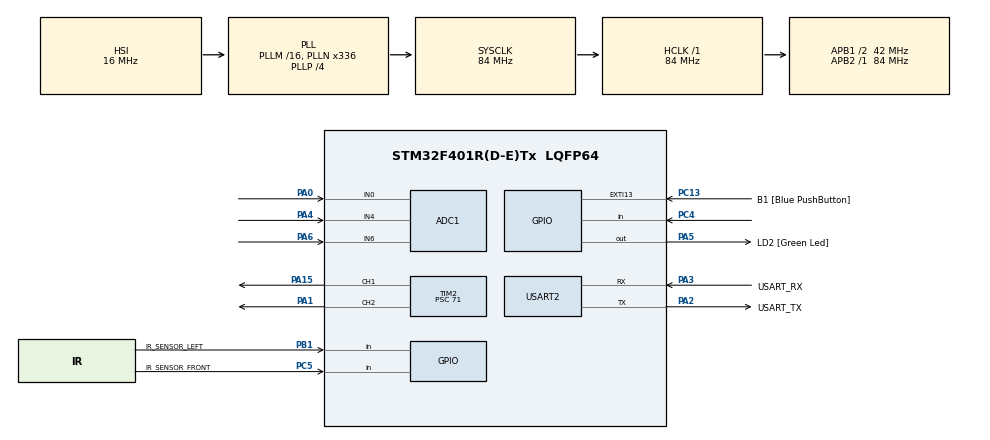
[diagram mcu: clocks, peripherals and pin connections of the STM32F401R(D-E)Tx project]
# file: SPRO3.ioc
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ADC1.Channel-0\#ChannelRegularConversion=ADC_CHANNEL_0
ADC1.NbrOfConversionFlag=1
ADC1.Rank-0\#ChannelRegularConversion=1
ADC1.SamplingTime-0\#ChannelRegularConversion=ADC_SAMPLETIME_3CYCLES
ADC1.master=1
Mcu.Family=STM32F4
Mcu.Name=STM32F401R(D-E)Tx
Mcu.Package=LQFP64
NVIC.PriorityGroup=NVIC_PRIORITYGROUP_0
PA0-WKUP.Signal=ADCx_IN0
PA1.Signal=S_TIM2_CH2
PA13.GPIO_Label=TMS
PA13.Mode=Serial_Wire
PA13.Signal=SYS_JTMS-SWDIO
PA14.GPIO_Label=TCK
PA14.Mode=Serial_Wire
PA14.Signal=SYS_JTCK-SWCLK
PA15.Signal=S_TIM2_CH1_ETR
PA2.GPIO_Label=USART_TX
PA2.GPIO_Mode=GPIO_MODE_AF_PP
PA2.GPIO_PuPd=GPIO_NOPULL
PA2.GPIO_Speed=GPIO_SPEED_FREQ_LOW
PA2.Mode=Asynchronous
PA2.Signal=USART2_TX
PA3.GPIO_Label=USART_RX
PA3.GPIO_Mode=GPIO_MODE_AF_PP
PA3.GPIO_PuPd=GPIO_NOPULL
PA3.GPIO_Speed=GPIO_SPEED_FREQ_LOW
PA3.Mode=Asynchronous
PA3.Signal=USART2_RX
PA4.Signal=ADCx_IN4
PA5.GPIO_Label=LD2 [Green Led]
PA5.GPIO_Mode=GPIO_MODE_OUTPUT_PP
PA5.GPIO_PuPd=GPIO_NOPULL
PA5.GPIO_Speed=GPIO_SPEED_FREQ_LOW
PA5.Signal=GPIO_Output
PA6.Signal=ADCx_IN6
PB1.GPIO_Label=IR_SENSOR_LEFT
PB1.GPIO_PuPd=GPIO_PULLDOWN
PB1.Signal=GPIO_Input
PB3.GPIO_Label=SWO
PB3.Signal=SYS_JTDO-SWO
PC13-ANTI_TAMP.GPIO_Label=B1 [Blue PushButton]
PC13-ANTI_TAMP.GPIO_ModeDefaultEXTI=GPIO_MODE_IT_FALLING
PC13-ANTI_TAMP.GPIO_PuPd=GPIO_NOPULL
PC13-ANTI_TAMP.Signal=GPXTI13
PC14-OSC32_IN.Mode=LSE-External-Oscillator
PC14-OSC32_IN.Signal=RCC_OSC32_IN
PC15-OSC32_OUT.Mode=LSE-External-Oscillator
PC15-OSC32_OUT.Signal=RCC_OSC32_OUT
PC4.Signal=GPIO_Input
PC5.GPIO_Label=IR_SENSOR_FRONT
PC5.GPIO_PuPd=GPIO_PULLDOWN
PC5.Signal=GPIO_Input
PH0\ -\ OSC_IN.Mode=HSE-External-Clock-Source
PH0\ -\ OSC_IN.Signal=RCC_OSC_IN
PH1\ -\ OSC_OUT.Mode=HSE-External-Clock-Source
PH1\ -\ OSC_OUT.Signal=RCC_OSC_OUT
ProjectManager.HeapSize=0x200
ProjectManager.StackSize=0x400
ProjectManager.TargetToolchain=STM32CubeIDE
RCC.48MHZClocksFreq_Value=48000000
RCC.AHBFreq_Value=84000000
RCC.APB1CLKDivider=RCC_HCLK_DIV2
RCC.APB1Freq_Value=42000000
RCC.APB1TimFreq_Value=84000000
RCC.APB2Freq_Value=84000000
RCC.APB2TimFreq_Value=84000000
RCC.CortexFreq_Value=84000000
RCC.HCLKFreq_Value=84000000
RCC.HSE_VALUE=8000000
RCC.HSI_VALUE=16000000
RCC.PLLN=336
RCC.PLLP=RCC_PLLP_DIV4
RCC.PLLQ=7
RCC.SYSCLKFreq_VALUE=84000000
RCC.SYSCLKSource=RCC_SYSCLKSOURCE_PLLCLK
RCC.VCOOutputFreq_Value=336000000
SH.ADCx_IN0.0=ADC1_IN0,IN0
SH.ADCx_IN4.0=ADC1_IN4,IN4
SH.ADCx_IN6.0=ADC1_IN6,IN6
SH.S_TIM2_CH1_ETR.0=TIM2_CH1,PWM Generation1 CH1
SH.S_TIM2_CH2.0=TIM2_CH2,PWM Generation2 CH2
TIM2.Channel-PWM\ Generation1\ CH1=TIM_CHANNEL_1
TIM2.Channel-PWM\ Generation2\ CH2=TIM_CHANNEL_2
TIM2.Period=999
TIM2.Prescaler=71
TIM2.Pulse-PWM\ Generation1\ CH1=500
TIM2.Pulse-PWM\ Generation2\ CH2=500
USART2.VirtualMode=VM_ASYNC
VP_TIM2_VS_ClockSourceINT.Mode=Internal
board=NUCLEO-F401RE

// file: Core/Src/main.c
/* USER CODE BEGIN Header */
/**
  ******************************************************************************
  * @file           : main.c
  * @brief          : Main program body
  ******************************************************************************
  * @attention
  *
  * Copyright (c) 2024 STMicroelectronics.
  * All rights reserved.
  *
  * This software is licensed under terms that can be found in the LICENSE file
  * in the root directory of this software component.
  * If no LICENSE file comes with this software, it is provided AS-IS.
  *
  ******************************************************************************
  */
/* USER CODE END Header */
#include "main.h"

/* USER CODE BEGIN Includes */
#include <stdlib.h>
#include <stdio.h>
/* USER CODE END Includes */

/* USER CODE BEGIN PD */

// Define sensor thresholds
#define SENSOR_THRESHOLD 1320
#define RED_THRESHOLD    150   // Adjust for the detected red level
#define GREEN_THRESHOLD  150   // Adjust for the detected green level
#define BLUE_THRESHOLD   150   // Adjust for the detected blue level

/* USER CODE END PD */

ADC_HandleTypeDef hadc1;

TIM_HandleTypeDef htim2;

UART_HandleTypeDef huart2;

/* USER CODE BEGIN PV */
// Global handles
ADC_HandleTypeDef hadc1;       // Handle for ADC1 to read IR sensor values
TIM_HandleTypeDef htim2;       // Handle for Timer 2 to control PWM

/* USER CODE END PV */

void SystemClock_Config(void);
static void MX_GPIO_Init(void);
static void MX_TIM2_Init(void);
static void MX_ADC1_Init(void);
static void MX_USART2_UART_Init(void);
/* USER CODE BEGIN PFP */
void SystemClock_Config(void);
void MX_GPIO_Init(void);
void MX_TIM2_Init(void);
void MX_ADC1_Init(void);
void MX_I2C1_Init(void);

uint32_t readIRSensor(ADC_HandleTypeDef *hadc, uint32_t channel);
void readColorSensor(uint16_t *red, uint16_t *green, uint16_t *blue);
void moveForward(void);
void turnLeft(void);
void turnRight(void);
void stopMotors(void);
void solveMaze(void);
/* USER CODE END PFP */

/* USER CODE BEGIN 0 */
//int _write(int file, char *ptr, int len)
//{
//	int i = 0;
//	for(i=0;i<len;i++)
//	{
//		ITM_SendChar((*ptr++));
//	}
//	return len;
//}
char once = 0, adcOnce=0;
/* USER CODE END 0 */

int main(void)
{

  /* USER CODE BEGIN 1 */
  // srand(time(NULL));
  /* USER CODE END 1 */

  /* MCU Configuration--------------------------------------------------------*/

  /* Reset of all peripherals, Initializes the Flash interface and the Systick. */
  HAL_Init();

  /* Configure the system clock */
  SystemClock_Config();

  /* Initialize all configured peripherals */
  MX_GPIO_Init();
  MX_TIM2_Init();
  MX_ADC1_Init();
  MX_USART2_UART_Init();

  /* Infinite loop */
  while (1)
  {

    /* USER CODE BEGIN 3 */
	  // if(once == 0)
	  // {
	  // HAL_GPIO_WritePin(LD2_GPIO_Port, LD2_Pin, GPIO_PIN_SET);
	  // HAL_Delay(1000);
	  // HAL_GPIO_WritePin(LD2_GPIO_Port, LD2_Pin, GPIO_PIN_RESET);
	  // once++;
	  // }
	moveForward();
	solveMaze();
  }
  /* USER CODE END 3 */
}

void SystemClock_Config(void)
{
  RCC_OscInitTypeDef RCC_OscInitStruct = {0};
  RCC_ClkInitTypeDef RCC_ClkInitStruct = {0};

  /** Configure the main internal regulator output voltage
  */
  __HAL_RCC_PWR_CLK_ENABLE();
  __HAL_PWR_VOLTAGESCALING_CONFIG(PWR_REGULATOR_VOLTAGE_SCALE2);

  /** Initializes the RCC Oscillators according to the specified parameters
  * in the RCC_OscInitTypeDef structure.
  */
  RCC_OscInitStruct.OscillatorType = RCC_OSCILLATORTYPE_HSI;
  RCC_OscInitStruct.HSIState = RCC_HSI_ON;
  RCC_OscInitStruct.HSICalibrationValue = RCC_HSICALIBRATION_DEFAULT;
  RCC_OscInitStruct.PLL.PLLState = RCC_PLL_ON;
  RCC_OscInitStruct.PLL.PLLSource = RCC_PLLSOURCE_HSI;
  RCC_OscInitStruct.PLL.PLLM = 16;
  RCC_OscInitStruct.PLL.PLLN = 336;
  RCC_OscInitStruct.PLL.PLLP = RCC_PLLP_DIV4;
  RCC_OscInitStruct.PLL.PLLQ = 7;
  if (HAL_RCC_OscConfig(&RCC_OscInitStruct) != HAL_OK)
  {
    Error_Handler();
  }

  /** Initializes the CPU, AHB and APB buses clocks
  */
  RCC_ClkInitStruct.ClockType = RCC_CLOCKTYPE_HCLK|RCC_CLOCKTYPE_SYSCLK
                              |RCC_CLOCKTYPE_PCLK1|RCC_CLOCKTYPE_PCLK2;
  RCC_ClkInitStruct.SYSCLKSource = RCC_SYSCLKSOURCE_PLLCLK;
  RCC_ClkInitStruct.AHBCLKDivider = RCC_SYSCLK_DIV1;
  RCC_ClkInitStruct.APB1CLKDivider = RCC_HCLK_DIV2;
  RCC_ClkInitStruct.APB2CLKDivider = RCC_HCLK_DIV1;

  if (HAL_RCC_ClockConfig(&RCC_ClkInitStruct, FLASH_LATENCY_2) != HAL_OK)
  {
    Error_Handler();
  }
}

static void MX_ADC1_Init(void)
{

  ADC_ChannelConfTypeDef sConfig = {0};

  /** Configure the global features of the ADC (Clock, Resolution, Data Alignment and number of conversion)
  */
  hadc1.Instance = ADC1;
  hadc1.Init.ClockPrescaler = ADC_CLOCK_SYNC_PCLK_DIV4;
  hadc1.Init.Resolution = ADC_RESOLUTION_12B;
  hadc1.Init.ScanConvMode = DISABLE;
  hadc1.Init.ContinuousConvMode = DISABLE;
  hadc1.Init.DiscontinuousConvMode = DISABLE;
  hadc1.Init.ExternalTrigConvEdge = ADC_EXTERNALTRIGCONVEDGE_NONE;
  hadc1.Init.ExternalTrigConv = ADC_SOFTWARE_START;
  hadc1.Init.DataAlign = ADC_DATAALIGN_RIGHT;
  hadc1.Init.NbrOfConversion = 1;
  hadc1.Init.DMAContinuousRequests = DISABLE;
  hadc1.Init.EOCSelection = ADC_EOC_SINGLE_CONV;
  if (HAL_ADC_Init(&hadc1) != HAL_OK)
  {
    Error_Handler();
  }

  /** Configure for the selected ADC regular channel its corresponding rank in the sequencer and its sample time.
  */
  sConfig.Channel = ADC_CHANNEL_0;
  sConfig.Rank = 1;
  sConfig.SamplingTime = ADC_SAMPLETIME_3CYCLES;
  if (HAL_ADC_ConfigChannel(&hadc1, &sConfig) != HAL_OK)
  {
    Error_Handler();
  }

}

static void MX_TIM2_Init(void)
{

  TIM_ClockConfigTypeDef sClockSourceConfig = {0};
  TIM_MasterConfigTypeDef sMasterConfig = {0};
  TIM_OC_InitTypeDef sConfigOC = {0};

  htim2.Instance = TIM2;
  htim2.Init.Prescaler = 71;
  htim2.Init.CounterMode = TIM_COUNTERMODE_UP;
  htim2.Init.Period = 999;
  htim2.Init.ClockDivision = TIM_CLOCKDIVISION_DIV1;
  htim2.Init.AutoReloadPreload = TIM_AUTORELOAD_PRELOAD_DISABLE;
  if (HAL_TIM_Base_Init(&htim2) != HAL_OK)
  {
    Error_Handler();
  }
  sClockSourceConfig.ClockSource = TIM_CLOCKSOURCE_INTERNAL;
  if (HAL_TIM_ConfigClockSource(&htim2, &sClockSourceConfig) != HAL_OK)
  {
    Error_Handler();
  }
  if (HAL_TIM_PWM_Init(&htim2) != HAL_OK)
  {
    Error_Handler();
  }
  sMasterConfig.MasterOutputTrigger = TIM_TRGO_RESET;
  sMasterConfig.MasterSlaveMode = TIM_MASTERSLAVEMODE_DISABLE;
  if (HAL_TIMEx_MasterConfigSynchronization(&htim2, &sMasterConfig) != HAL_OK)
  {
    Error_Handler();
  }
  sConfigOC.OCMode = TIM_OCMODE_PWM1;
  sConfigOC.Pulse = 500;
  sConfigOC.OCPolarity = TIM_OCPOLARITY_HIGH;
  sConfigOC.OCFastMode = TIM_OCFAST_DISABLE;
  if (HAL_TIM_PWM_ConfigChannel(&htim2, &sConfigOC, TIM_CHANNEL_1) != HAL_OK)
  {
    Error_Handler();
  }
  sConfigOC.Pulse = 10;
  if (HAL_TIM_PWM_ConfigChannel(&htim2, &sConfigOC, TIM_CHANNEL_2) != HAL_OK)
  {
    Error_Handler();
  }
  HAL_TIM_MspPostInit(&htim2);

}

static void MX_USART2_UART_Init(void)
{

  huart2.Instance = USART2;
  huart2.Init.BaudRate = 115200;
  huart2.Init.WordLength = UART_WORDLENGTH_8B;
  huart2.Init.StopBits = UART_STOPBITS_1;
  huart2.Init.Parity = UART_PARITY_NONE;
  huart2.Init.Mode = UART_MODE_TX_RX;
  huart2.Init.HwFlowCtl = UART_HWCONTROL_NONE;
  huart2.Init.OverSampling = UART_OVERSAMPLING_16;
  if (HAL_UART_Init(&huart2) != HAL_OK)
  {
    Error_Handler();
  }

}

static void MX_GPIO_Init(void)
{
  GPIO_InitTypeDef GPIO_InitStruct = {0};

  /* GPIO Ports Clock Enable */
  __HAL_RCC_GPIOC_CLK_ENABLE();
  __HAL_RCC_GPIOH_CLK_ENABLE();
  __HAL_RCC_GPIOA_CLK_ENABLE();
  __HAL_RCC_GPIOB_CLK_ENABLE();

  /*Configure GPIO pin Output Level */
  HAL_GPIO_WritePin(LD2_GPIO_Port, LD2_Pin, GPIO_PIN_RESET);

  /*Configure GPIO pin : B1_Pin */
  GPIO_InitStruct.Pin = B1_Pin;
  GPIO_InitStruct.Mode = GPIO_MODE_IT_FALLING;
  GPIO_InitStruct.Pull = GPIO_NOPULL;
  HAL_GPIO_Init(B1_GPIO_Port, &GPIO_InitStruct);

  /*Configure GPIO pin : LD2_Pin */
  GPIO_InitStruct.Pin = LD2_Pin;
  GPIO_InitStruct.Mode = GPIO_MODE_OUTPUT_PP;
  GPIO_InitStruct.Pull = GPIO_NOPULL;
  GPIO_InitStruct.Speed = GPIO_SPEED_FREQ_LOW;
  HAL_GPIO_Init(LD2_GPIO_Port, &GPIO_InitStruct);

  /*Configure GPIO pin : PC4 */
  GPIO_InitStruct.Pin = GPIO_PIN_4;
  GPIO_InitStruct.Mode = GPIO_MODE_INPUT;
  GPIO_InitStruct.Pull = GPIO_NOPULL;
  HAL_GPIO_Init(GPIOC, &GPIO_InitStruct);

  /*Configure GPIO pin : IR_SENSOR_FRONT_Pin */
  GPIO_InitStruct.Pin = IR_SENSOR_FRONT_Pin;
  GPIO_InitStruct.Mode = GPIO_MODE_INPUT;
  GPIO_InitStruct.Pull = GPIO_PULLDOWN;
  HAL_GPIO_Init(IR_SENSOR_FRONT_GPIO_Port, &GPIO_InitStruct);

  /*Configure GPIO pin : IR_SENSOR_LEFT_Pin */
  GPIO_InitStruct.Pin = IR_SENSOR_LEFT_Pin;
  GPIO_InitStruct.Mode = GPIO_MODE_INPUT;
  GPIO_InitStruct.Pull = GPIO_PULLDOWN;
  HAL_GPIO_Init(IR_SENSOR_LEFT_GPIO_Port, &GPIO_InitStruct);

}

/* USER CODE BEGIN 4 */
/**
 * Reads an analog value from a specified ADC channel for IR sensors.
 * hadc: Pointer to ADC handle (e.g., hadc1)
 * channel: ADC channel to read (e.g., ADC_CHANNEL_0)
 * Analog value from the specified channel
 */
uint32_t readIRSensor(ADC_HandleTypeDef *hadc, uint32_t channel) {
    ADC_ChannelConfTypeDef sConfig = {0};

    sConfig.Channel = channel;                  // Specify the ADC channel
    // sConfig.Rank = ADC_REGULAR_RANK_1;          // Set rank for single conversion
    HAL_ADC_ConfigChannel(hadc, &sConfig);      // Apply configuration

    HAL_ADC_Start(hadc);                        // Start ADC conversion
    HAL_ADC_PollForConversion(hadc, HAL_MAX_DELAY); // Wait for conversion to complete
    uint32_t value = HAL_ADC_GetValue(hadc);    // Retrieve the ADC value
    HAL_ADC_Stop(hadc);                         // Stop the ADC
    return value;                               // Return the sensor value
}

/**
 * Moves the robot forward.
 */
void moveForward() {
    HAL_GPIO_WritePin(GPIOB, GPIO_PIN_2, GPIO_PIN_SET);  // LEFT_MOTOR_DIR: Forward
    HAL_GPIO_WritePin(GPIOB, GPIO_PIN_3, GPIO_PIN_SET);  // RIGHT_MOTOR_DIR: Forward

    __HAL_TIM_SET_COMPARE(&htim2, TIM_CHANNEL_1, 500);   // LEFT_MOTOR_PWM
    __HAL_TIM_SET_COMPARE(&htim2, TIM_CHANNEL_2, 500);   // RIGHT_MOTOR_PWM
}

/**
 * Turns the robot left.
 */
void turnLeft() {
    HAL_GPIO_WritePin(GPIOB, GPIO_PIN_2, GPIO_PIN_RESET); // LEFT_MOTOR_DIR: Reverse
    HAL_GPIO_WritePin(GPIOB, GPIO_PIN_3, GPIO_PIN_SET);   // RIGHT_MOTOR_DIR: Forward

    __HAL_TIM_SET_COMPARE(&htim2, TIM_CHANNEL_1, 500);    // LEFT_MOTOR_PWM
    __HAL_TIM_SET_COMPARE(&htim2, TIM_CHANNEL_2, 500);    // RIGHT_MOTOR_PWM
    HAL_Delay(500);  // Delay for turning duration (adjust as needed)
    moveForward();
    HAL_Delay(200);
}

/**
 * Turns the robot right.
 */
void turnRight() {
    HAL_GPIO_WritePin(GPIOB, GPIO_PIN_2, GPIO_PIN_SET);   // LEFT_MOTOR_DIR: Forward
    HAL_GPIO_WritePin(GPIOB, GPIO_PIN_3, GPIO_PIN_RESET); // RIGHT_MOTOR_DIR: Reverse

    __HAL_TIM_SET_COMPARE(&htim2, TIM_CHANNEL_1, 500);    // LEFT_MOTOR_PWM
    __HAL_TIM_SET_COMPARE(&htim2, TIM_CHANNEL_2, 500);    // RIGHT_MOTOR_PWM
    HAL_Delay(500);  // Delay for turning duration (adjust as needed)
    moveForward();
    HAL_Delay(200);
}

/**
 * Stops both motors.
 */
void stopMotors() {
    __HAL_TIM_SET_COMPARE(&htim2, TIM_CHANNEL_1, 0);  // Stop LEFT_MOTOR_PWM
    __HAL_TIM_SET_COMPARE(&htim2, TIM_CHANNEL_2, 0);  // Stop RIGHT_MOTOR_PWM
}

/**
 * Implements a simple maze-solving algorithm using IR sensors and a color sensor.
 */
void solveMaze() {
    while (1) {
        // Read sensor values
        uint32_t frontADC = readIRSensor(&hadc1, ADC_CHANNEL_0);  // Front IR sensor
        uint32_t leftADC = readIRSensor(&hadc1, ADC_CHANNEL_4);   // Left IR sensor
        uint32_t rightADC = readIRSensor(&hadc1, ADC_CHANNEL_6);  // Right IR sensor

        char front=0, left=0, right=0, tempsum=0;
//        HAL_GPIO_WritePin(LD2_GPIO_Port, LD2_Pin, GPIO_PIN_SET);
//        HAL_Delay(10);
//        HAL_GPIO_WritePin(LD2_GPIO_Port, LD2_Pin, GPIO_PIN_RESET);

        if (frontADC < SENSOR_THRESHOLD){
        	front = 0x01;
        }

        if(leftADC < SENSOR_THRESHOLD){
        	left = 0x02;
        }

        if(rightADC < SENSOR_THRESHOLD){
        	right = 0x04;
        }

        enum {
              FLR= (0x01 | 0x02 | 0x04),
              LR= (0 | 0x02 | 0x04),
			  FL = (0x01 | 0x02 | 0),
			  FR = (0x01 | 0 | 0x04),
			  F = (0x01 | 0 | 0),
			  L = (0 | 0x02 | 0),
			  R = (0 | 0 | 0x04),
			  DeadEnd = (0 | 0 | 0)
        }STATE;

        STATE = front | left | right;
        	char choice;
			switch(STATE){
			case FLR: {
				choice=rand()%3;
				switch(choice){
				case 0: turnLeft();
				case 1: moveForward();
				case 2: turnRight();
				}
			}
			case LR: {
				choice=rand()%2;
				switch(choice){
				case 0: turnLeft();
				case 1: turnRight();
				}
			}
			case FL: {
				choice=rand()%2;
				switch(choice){
				case 0: moveForward();
				case 1: turnLeft();
				}
			}
			case FR:{
				choice=rand()%2;
				switch(choice){
				case 0: moveForward();
				case 1: turnLeft();
				}
			}
			case F: moveForward();
			case L: turnLeft();
			case R: turnRight();
			case DeadEnd: {
				turnRight();
				turnRight();
			}
			default: //should not get here
			}
		}
        HAL_Delay(100);  // Delay for smoother movements (adjust as needed)

}

/* USER CODE END 4 */

void Error_Handler(void)
{
  __disable_irq();
  while (1)
  {
  }
}
